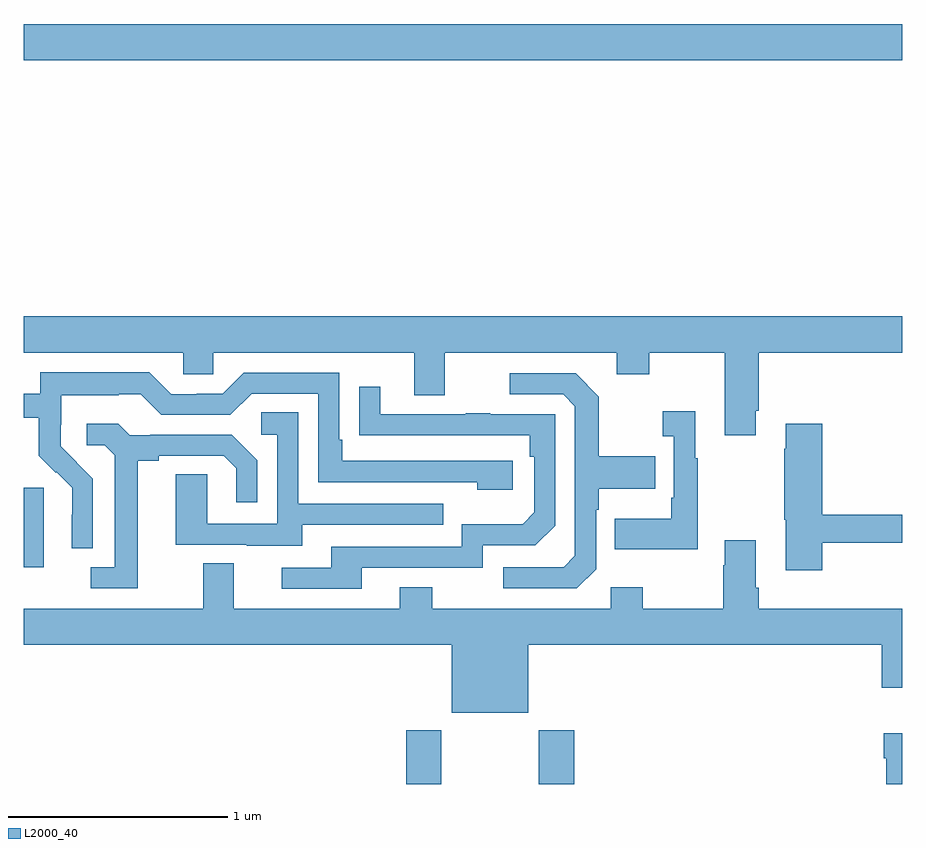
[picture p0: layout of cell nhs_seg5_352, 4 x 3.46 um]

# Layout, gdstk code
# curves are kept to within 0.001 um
import gdstk
lib = gdstk.Library(unit=1e-6, precision=1e-09)
def R(c, l, rs):  # rectangles x0, y0, x1, y1
    for r in rs: c.add(gdstk.rectangle(r[:2], r[2:], *l))
def P(c, l, *ps):  # polygons
    for p in ps: c.add(gdstk.Polygon(p, *l))
L2000_40 = (2000, 40)

nhs_seg5_352 = lib.new_cell('nhs_seg5_352')
R(nhs_seg5_352, L2000_40, [(134.741,850.799,134.901,851.044), (135.346,850.799,135.506,851.044), (133,851.786,133.09,852.147), (133,854.096,137,854.26)])
P(nhs_seg5_352, L2000_40, [(136.333,852.499),(136.346,852.499),(136.346,852.764),(137,852.764),(137,852.928),(133,852.928),(133,852.764),(133.725,852.764),(133.725,852.666),(133.863,852.666),(133.863,852.764),(134.777,852.764),(134.777,852.57),(134.917,852.57),(134.917,852.764),(135.701,852.764),(135.701,852.665),(135.849,852.665),(135.849,852.764),(136.193,852.764),(136.193,852.387),(136.333,852.387)],
  [(133.314,852.19),(133.168,852.338),(133.168,852.435),(133.17,852.435),(133.17,852.569),(133.433,852.569),(133.433,852.573),(133.533,852.573),(133.626,852.48),(133.941,852.48),(134.037,852.576),(134.34,852.576),(134.34,852.174),(135.065,852.174),(135.065,852.14),(135.226,852.14),(135.226,852.27),(134.449,852.27),(134.449,852.367),(134.436,852.367),(134.436,852.672),(134.001,852.672),(133.905,852.576),(133.787,852.576),(133.787,852.573),(133.671,852.573),(133.571,852.673),(133.074,852.673),(133.074,852.576),(133,852.576),(133,852.468),(133.069,852.468),(133.069,852.293),(133.146,852.216),(133.149,852.219),(133.22,852.149),(133.22,852.026),(133.218,852.026),(133.218,851.872),(133.314,851.872)],
  [(135.606,851.778),(135.606,852.047),(135.619,852.047),(135.619,852.143),(135.875,852.143),(135.875,852.291),(135.619,852.291),(135.619,852.563),(135.513,852.669),(135.213,852.669),(135.213,852.573),(135.456,852.573),(135.51,852.519),(135.51,851.838),(135.459,851.787),(135.183,851.787),(135.183,851.691),(135.519,851.691)],
  [(134.539,851.784),(135.09,851.784),(135.09,851.886),(135.33,851.886),(135.42,851.976),(135.42,852.483),(135.125,852.483),(135.125,852.488),(135.013,852.488),(135.013,852.483),(134.623,852.483),(134.623,852.607),(134.527,852.607),(134.527,852.388),(135.304,852.387),(135.304,852.29),(135.324,852.29),(135.324,852.036),(135.271,851.983),(134.994,851.983),(134.994,851.88),(134.399,851.88),(134.399,851.784),(134.175,851.784),(134.175,851.688),(134.539,851.688)],
  [(136.069,852.283),(136.057,852.283),(136.057,852.496),(135.909,852.496),(135.909,852.383),(135.96,852.383),(135.96,852.103),(135.948,852.103),(135.948,852.007),(135.691,852.007),(135.691,851.867),(136.069,851.867)],
  [(134.269,851.979),(134.909,851.979),(134.909,852.075),(134.25,852.075),(134.25,852.491),(134.082,852.491),(134.082,852.39),(134.154,852.39),(134.154,851.985),(133.836,851.985),(133.836,852.209),(133.691,852.209),(133.691,851.889),(134.015,851.889),(134.015,851.885),(134.269,851.885)],
  [(133.519,852.272),(133.615,852.272),(133.615,852.294),(133.91,852.294),(133.967,852.237),(133.967,852.081),(134.064,852.081),(134.064,852.274),(133.948,852.39),(133.576,852.39),(133.576,852.387),(133.482,852.387),(133.43,852.439),(133.287,852.439),(133.287,852.342),(133.368,852.342),(133.415,852.295),(133.415,851.787),(133.305,851.787),(133.305,851.691),(133.519,851.691)],
  [(136.637,851.898),(137,851.898),(137,852.026),(136.637,852.026),(136.637,852.439),(136.469,852.439),(136.469,852.326),(136.462,852.326),(136.462,852.003),(136.469,852.003),(136.469,851.772),(136.637,851.772)],
  [(135.298,851.432),(136.907,851.432),(136.907,851.238),(137,851.238),(137,851.596),(136.346,851.596),(136.346,851.692),(136.333,851.692),(136.333,851.908),(136.193,851.908),(136.193,851.795),(136.186,851.795),(136.186,851.596),(135.819,851.596),(135.819,851.695),(135.672,851.695),(135.672,851.596),(134.859,851.596),(134.859,851.695),(134.711,851.695),(134.711,851.596),(133.957,851.596),(133.957,851.804),(133.817,851.804),(133.817,851.596),(133,851.596),(133,851.432),(134.948,851.432),(134.948,851.123),(135.298,851.123)],
  [(137,851.029),(136.916,851.029),(136.916,850.916),(136.928,850.916),(136.928,850.799),(137,850.799)])

lib.write_gds('nhs_seg5_352.gds')
